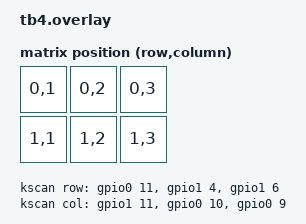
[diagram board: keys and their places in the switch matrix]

/*
 * Manufacture : 2026 Zerotype
 * Copyright (c) 2024 The ZMK Contributors
 * SPDX-License-Identifier: MIT
 */

#include <dt-bindings/zmk/matrix_transform.h>

#include "tb4-layout.dtsi"

/ {
    chosen {
        zmk,kscan = &kscan;
        zmk,physical-layouts = &all_1u_layout;
    };

    kscan: kscan {
        compatible = "zmk,kscan-gpio-matrix";

        diode-direction = "col2row";
        row-gpios
            = <&gpio0 11  (GPIO_ACTIVE_HIGH | GPIO_PULL_DOWN)>
            , <&gpio1  4  (GPIO_ACTIVE_HIGH | GPIO_PULL_DOWN)>
            , <&gpio1  6  (GPIO_ACTIVE_HIGH | GPIO_PULL_DOWN)>
            ;
        col-gpios
            = <&gpio1 11  GPIO_ACTIVE_HIGH>
            , <&gpio0 10  GPIO_ACTIVE_HIGH>
            , <&gpio0 9   GPIO_ACTIVE_HIGH>
            ;
    };

    all_1u_transform: keymap_transform_0 {
            compatible = "zmk,matrix-transform";
            columns = <3>;
            rows = <2>;
            map = <
                        RC(0,1) RC(0,2) RC(0,3)
                        RC(1,1) RC(1,2) RC(1,3)
        >;
    };

};
